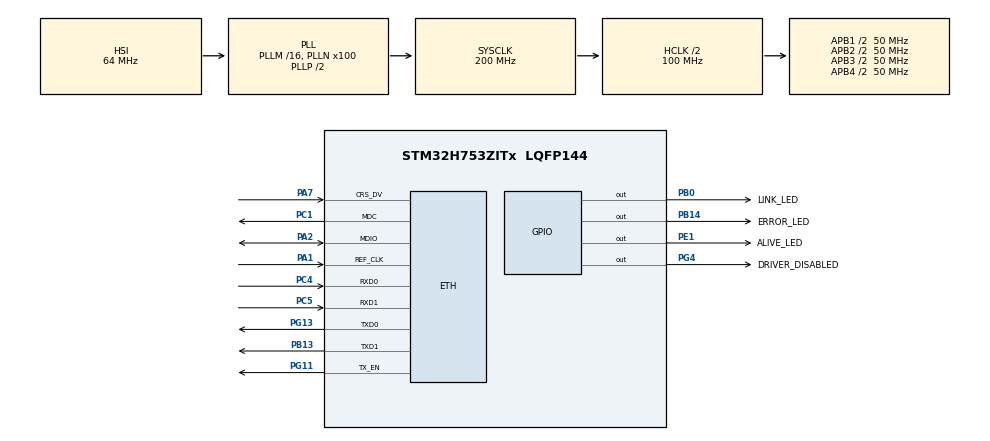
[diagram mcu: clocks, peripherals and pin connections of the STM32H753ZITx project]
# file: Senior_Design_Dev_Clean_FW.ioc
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ETH.MediaInterface=HAL_ETH_RMII_MODE
Mcu.Family=STM32H7
Mcu.Name=STM32H753ZITx
Mcu.Package=LQFP144
NVIC.ETH_IRQn=true:5:0:false:false:true:true:true:true
NVIC.PriorityGroup=NVIC_PRIORITYGROUP_4
PA1.Mode=RMII
PA1.Signal=ETH_REF_CLK
PA13\ (JTMS/SWDIO).Signal=DEBUG_JTMS-SWDIO
PA14\ (JTCK/SWCLK).Signal=DEBUG_JTCK-SWCLK
PA2.Mode=RMII
PA2.Signal=ETH_MDIO
PA7.Mode=RMII
PA7.Signal=ETH_CRS_DV
PB0.GPIO_Label=LINK_LED
PB0.GPIO_PuPd=GPIO_NOPULL
PB0.PinState=GPIO_PIN_RESET
PB0.Signal=GPIO_Output
PB13.Mode=RMII
PB13.Signal=ETH_TXD1
PB14.GPIO_Label=ERROR_LED
PB14.GPIO_PuPd=GPIO_NOPULL
PB14.PinState=GPIO_PIN_RESET
PB14.Signal=GPIO_Output
PC1.Mode=RMII
PC1.Signal=ETH_MDC
PC4.Mode=RMII
PC4.Signal=ETH_RXD0
PC5.Mode=RMII
PC5.Signal=ETH_RXD1
PE1.GPIO_Label=ALIVE_LED
PE1.GPIO_PuPd=GPIO_NOPULL
PE1.PinState=GPIO_PIN_RESET
PE1.Signal=GPIO_Output
PG11.Mode=RMII
PG11.Signal=ETH_TX_EN
PG13.Mode=RMII
PG13.Signal=ETH_TXD0
PG4.GPIO_Label=DRIVER_DISABLED
PG4.GPIO_PuPd=GPIO_PULLDOWN
PG4.PinState=GPIO_PIN_RESET
PG4.Signal=GPIO_Output
ProjectManager.HeapSize=0x200
ProjectManager.StackSize=0x2000
ProjectManager.TargetToolchain=STM32CubeIDE
RCC.APB1Freq_Value=50000000
RCC.APB2Freq_Value=50000000
RCC.APB3Freq_Value=50000000
RCC.APB4Freq_Value=50000000
RCC.CortexFreq_Value=200000000
RCC.D1CPRE=RCC_SYSCLK_DIV1
RCC.D1PPRE=RCC_APB3_DIV2
RCC.D2PPRE1=RCC_APB1_DIV2
RCC.D2PPRE2=RCC_APB2_DIV2
RCC.D3PPRE=RCC_APB4_DIV2
RCC.DIVM1=16
RCC.DIVN1=100
RCC.DIVP1=2
RCC.DIVQ1=4
RCC.DIVR1=2
RCC.HCLKFreq_Value=100000000
RCC.HPRE=RCC_HCLK_DIV2
RCC.PLLSourceVirtual=RCC_PLLSOURCE_HSI
RCC.SYSCLKFreq_VALUE=200000000
RCC.SYSCLKSource=RCC_SYSCLKSOURCE_PLLCLK

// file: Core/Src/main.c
/* H753 Nucleo Ethernet-only bring-up. No motor/sensor initialization. */
#include "main.h"
/* USER CODE BEGIN Includes */
#include "network.h"
#include "ethernetif.h"
#include <string.h>
/* USER CODE END Includes */

ETH_HandleTypeDef heth;
ETH_DMADescTypeDef DMARxDscrTab[ETH_RX_DESC_CNT]
    __attribute__((section(".RxDescripSection"), aligned(32)));
ETH_DMADescTypeDef DMATxDscrTab[ETH_TX_DESC_CNT]
    __attribute__((section(".TxDescripSection"), aligned(32)));

/* USER CODE BEGIN PV */
static uint8_t mac_address[6];
/* USER CODE END PV */
void SystemClock_Config(void);
static void MX_GPIO_Init(void);
static void MX_ETH_Init(void);

int main(void)
{
    /* USER CODE BEGIN 1 */
    SCB_EnableICache();
    /* D-cache stays disabled: descriptor and packet DMA needs coherent RAM. */
    /* USER CODE END 1 */
    HAL_Init();
    SystemClock_Config();
    MX_GPIO_Init();
    /* USER CODE BEGIN SysInit */
    ethernetif_prepare();
    memset(DMARxDscrTab, 0, sizeof(DMARxDscrTab));
    memset(DMATxDscrTab, 0, sizeof(DMATxDscrTab));
    /* USER CODE END SysInit */
    MX_ETH_Init();
    /* USER CODE BEGIN 2 */
    if (!network_init()) Error_Handler();
    uint32_t last_blink = HAL_GetTick();
    /* USER CODE END 2 */
    while (1) {
        /* USER CODE BEGIN 3 */
        network_poll();
        uint32_t now = HAL_GetTick();
        if (now - last_blink >= 500u) {
            last_blink = now;
            HAL_GPIO_TogglePin(GPIOE, GPIO_PIN_1); /* Yellow LD2: alive. */
        }
        HAL_GPIO_WritePin(GPIOB, GPIO_PIN_0,
            network_link_up() ? GPIO_PIN_SET : GPIO_PIN_RESET); /* Green LD1: link. */
        /* USER CODE END 3 */
    }
}

void SystemClock_Config(void)
{
    RCC_OscInitTypeDef oscillator = {0};
    RCC_ClkInitTypeDef clock = {0};
    if (HAL_PWREx_ConfigSupply(PWR_LDO_SUPPLY) != HAL_OK) Error_Handler();
    __HAL_PWR_VOLTAGESCALING_CONFIG(PWR_REGULATOR_VOLTAGE_SCALE1);
    uint32_t start = HAL_GetTick();
    while (!__HAL_PWR_GET_FLAG(PWR_FLAG_VOSRDY)) {
        if (HAL_GetTick() - start > 100u) Error_Handler();
    }
    /* CPU clock is independent of ST-LINK MCO/HSE. PHY supplies RMII 50 MHz. */
    oscillator.OscillatorType = RCC_OSCILLATORTYPE_HSI;
    oscillator.HSIState = RCC_HSI_DIV1;
    oscillator.HSICalibrationValue = RCC_HSICALIBRATION_DEFAULT;
    oscillator.PLL.PLLState = RCC_PLL_ON;
    oscillator.PLL.PLLSource = RCC_PLLSOURCE_HSI;
    oscillator.PLL.PLLM = 16;
    oscillator.PLL.PLLN = 100;
    oscillator.PLL.PLLP = 2;
    oscillator.PLL.PLLQ = 4;
    oscillator.PLL.PLLR = 2;
    oscillator.PLL.PLLRGE = RCC_PLL1VCIRANGE_2;
    oscillator.PLL.PLLVCOSEL = RCC_PLL1VCOWIDE;
    if (HAL_RCC_OscConfig(&oscillator) != HAL_OK) Error_Handler();
    clock.ClockType = RCC_CLOCKTYPE_SYSCLK | RCC_CLOCKTYPE_HCLK |
        RCC_CLOCKTYPE_PCLK1 | RCC_CLOCKTYPE_PCLK2 |
        RCC_CLOCKTYPE_D1PCLK1 | RCC_CLOCKTYPE_D3PCLK1;
    clock.SYSCLKSource = RCC_SYSCLKSOURCE_PLLCLK;
    clock.SYSCLKDivider = RCC_SYSCLK_DIV1;
    clock.AHBCLKDivider = RCC_HCLK_DIV2;
    clock.APB1CLKDivider = RCC_APB1_DIV2;
    clock.APB2CLKDivider = RCC_APB2_DIV2;
    clock.APB3CLKDivider = RCC_APB3_DIV2;
    clock.APB4CLKDivider = RCC_APB4_DIV2;
    if (HAL_RCC_ClockConfig(&clock, FLASH_LATENCY_4) != HAL_OK) Error_Handler();
}

static void MX_GPIO_Init(void)
{
    __HAL_RCC_GPIOA_CLK_ENABLE();
    __HAL_RCC_GPIOB_CLK_ENABLE();
    __HAL_RCC_GPIOC_CLK_ENABLE();
    __HAL_RCC_GPIOE_CLK_ENABLE();
    __HAL_RCC_GPIOG_CLK_ENABLE();
    GPIO_InitTypeDef pin = {0};
    /* Preserve disabled PG4 on the previous bench harness. No timers are started. */
    HAL_GPIO_WritePin(GPIOG, GPIO_PIN_4, GPIO_PIN_RESET);
    pin.Pin = GPIO_PIN_4;
    pin.Mode = GPIO_MODE_OUTPUT_PP;
    pin.Pull = GPIO_PULLDOWN;
    pin.Speed = GPIO_SPEED_FREQ_LOW;
    HAL_GPIO_Init(GPIOG, &pin);
    HAL_GPIO_WritePin(GPIOB, GPIO_PIN_0 | GPIO_PIN_14, GPIO_PIN_RESET);
    pin.Pin = GPIO_PIN_0 | GPIO_PIN_14;
    pin.Pull = GPIO_NOPULL;
    HAL_GPIO_Init(GPIOB, &pin);
    HAL_GPIO_WritePin(GPIOE, GPIO_PIN_1, GPIO_PIN_RESET);
    pin.Pin = GPIO_PIN_1;
    HAL_GPIO_Init(GPIOE, &pin);
}

static void MX_ETH_Init(void)
{
    /* USER CODE BEGIN ETH_Init 1 */
    uint32_t id = HAL_GetUIDw0() ^ HAL_GetUIDw1() ^ HAL_GetUIDw2();
    mac_address[0] = 0x02; /* Locally administered unicast address. */
    mac_address[1] = 0x47;
    mac_address[2] = (uint8_t)(id >> 24);
    mac_address[3] = (uint8_t)(id >> 16);
    mac_address[4] = (uint8_t)(id >> 8);
    mac_address[5] = (uint8_t)id;
    /* USER CODE END ETH_Init 1 */
    heth.Instance = ETH;
    heth.Init.MACAddr = mac_address;
    heth.Init.MediaInterface = HAL_ETH_RMII_MODE;
    heth.Init.RxDesc = DMARxDscrTab;
    heth.Init.TxDesc = DMATxDscrTab;
    heth.Init.RxBuffLen = 1536;
    if (HAL_ETH_Init(&heth) != HAL_OK) Error_Handler();
}

void Error_Handler(void)
{
    __disable_irq();
    if (__HAL_RCC_GPIOG_IS_CLK_ENABLED())
        GPIOG->BSRR = (uint32_t)GPIO_PIN_4 << 16;
    if (__HAL_RCC_GPIOB_IS_CLK_ENABLED())
        GPIOB->BSRR = GPIO_PIN_14; /* Red LD3: fatal init/assert/CPU fault. */
    for (;;) {}
}
